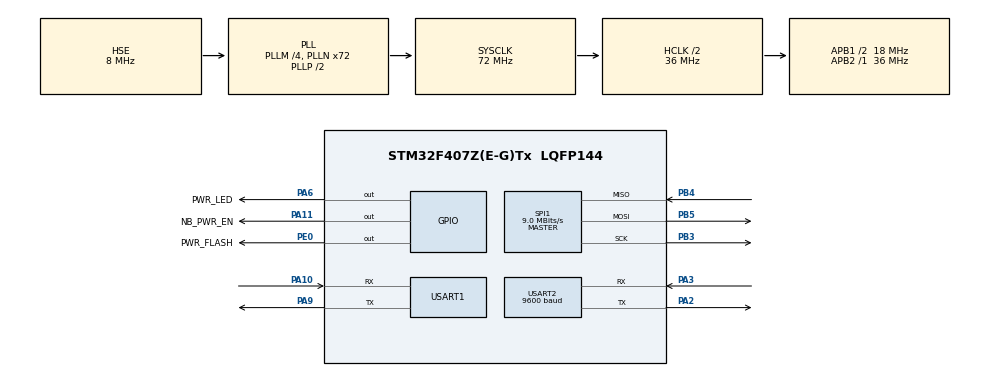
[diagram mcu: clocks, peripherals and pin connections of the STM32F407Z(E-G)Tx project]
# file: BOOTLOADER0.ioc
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Dma.Request0=USART2_RX
Dma.Request1=USART2_TX
Dma.Request2=USART1_RX
Dma.Request3=USART1_TX
Dma.USART1_RX.2.Direction=DMA_PERIPH_TO_MEMORY
Dma.USART1_RX.2.FIFOMode=DMA_FIFOMODE_DISABLE
Dma.USART1_RX.2.Instance=DMA2_Stream2
Dma.USART1_RX.2.MemDataAlignment=DMA_MDATAALIGN_BYTE
Dma.USART1_RX.2.MemInc=DMA_MINC_ENABLE
Dma.USART1_RX.2.Mode=DMA_NORMAL
Dma.USART1_RX.2.PeriphDataAlignment=DMA_PDATAALIGN_BYTE
Dma.USART1_RX.2.PeriphInc=DMA_PINC_DISABLE
Dma.USART1_RX.2.Priority=DMA_PRIORITY_LOW
Dma.USART1_TX.3.Direction=DMA_MEMORY_TO_PERIPH
Dma.USART1_TX.3.FIFOMode=DMA_FIFOMODE_DISABLE
Dma.USART1_TX.3.Instance=DMA2_Stream7
Dma.USART1_TX.3.MemDataAlignment=DMA_MDATAALIGN_BYTE
Dma.USART1_TX.3.MemInc=DMA_MINC_ENABLE
Dma.USART1_TX.3.Mode=DMA_NORMAL
Dma.USART1_TX.3.PeriphDataAlignment=DMA_PDATAALIGN_BYTE
Dma.USART1_TX.3.PeriphInc=DMA_PINC_DISABLE
Dma.USART1_TX.3.Priority=DMA_PRIORITY_LOW
Dma.USART2_RX.0.Direction=DMA_PERIPH_TO_MEMORY
Dma.USART2_RX.0.FIFOMode=DMA_FIFOMODE_DISABLE
Dma.USART2_RX.0.Instance=DMA1_Stream5
Dma.USART2_RX.0.MemDataAlignment=DMA_MDATAALIGN_BYTE
Dma.USART2_RX.0.MemInc=DMA_MINC_ENABLE
Dma.USART2_RX.0.Mode=DMA_NORMAL
Dma.USART2_RX.0.PeriphDataAlignment=DMA_PDATAALIGN_BYTE
Dma.USART2_RX.0.PeriphInc=DMA_PINC_DISABLE
Dma.USART2_RX.0.Priority=DMA_PRIORITY_LOW
Dma.USART2_TX.1.Direction=DMA_MEMORY_TO_PERIPH
Dma.USART2_TX.1.FIFOMode=DMA_FIFOMODE_DISABLE
Dma.USART2_TX.1.Instance=DMA1_Stream6
Dma.USART2_TX.1.MemDataAlignment=DMA_MDATAALIGN_BYTE
Dma.USART2_TX.1.MemInc=DMA_MINC_ENABLE
Dma.USART2_TX.1.Mode=DMA_NORMAL
Dma.USART2_TX.1.PeriphDataAlignment=DMA_PDATAALIGN_BYTE
Dma.USART2_TX.1.PeriphInc=DMA_PINC_DISABLE
Dma.USART2_TX.1.Priority=DMA_PRIORITY_LOW
IWDG.Prescaler=IWDG_PRESCALER_32
Mcu.Family=STM32F4
Mcu.Name=STM32F407Z(E-G)Tx
Mcu.Package=LQFP144
NVIC.DMA1_Stream5_IRQn=true\:0\:0\:false\:false\:true\:false\:true\:true
NVIC.DMA1_Stream6_IRQn=true\:0\:0\:false\:false\:true\:false\:true\:true
NVIC.DMA2_Stream2_IRQn=true\:0\:0\:false\:false\:true\:false\:true\:true
NVIC.DMA2_Stream7_IRQn=true\:0\:0\:false\:false\:true\:false\:true\:true
NVIC.PriorityGroup=NVIC_PRIORITYGROUP_4
NVIC.USART1_IRQn=true\:2\:0\:true\:false\:true\:true\:true\:true
NVIC.USART2_IRQn=true\:0\:0\:false\:false\:true\:true\:true\:true
PA0-WKUP.Mode=SYS_WakeUp0
PA0-WKUP.Signal=SYS_WKUP
PA10.Mode=Asynchronous
PA10.Signal=USART1_RX
PA11.GPIO_Label=NB_PWR_EN
PA11.GPIO_PuPd=GPIO_PULLDOWN
PA11.Signal=GPIO_Output
PA13.Mode=Serial_Wire
PA13.Signal=SYS_JTMS-SWDIO
PA14.Mode=Serial_Wire
PA14.Signal=SYS_JTCK-SWCLK
PA2.Mode=Asynchronous
PA2.Signal=USART2_TX
PA3.Mode=Asynchronous
PA3.Signal=USART2_RX
PA6.GPIO_Label=PWR_LED
PA6.GPIO_PuPd=GPIO_PULLUP
PA6.Signal=GPIO_Output
PA9.Mode=Asynchronous
PA9.Signal=USART1_TX
PB3.Mode=Full_Duplex_Master
PB3.Signal=SPI1_SCK
PB4.Mode=Full_Duplex_Master
PB4.Signal=SPI1_MISO
PB5.Mode=Full_Duplex_Master
PB5.Signal=SPI1_MOSI
PC14-OSC32_IN.Mode=LSE-External-Oscillator
PC14-OSC32_IN.Signal=RCC_OSC32_IN
PC15-OSC32_OUT.Mode=LSE-External-Oscillator
PC15-OSC32_OUT.Signal=RCC_OSC32_OUT
PE0.GPIO_Label=PWR_FLASH
PE0.GPIO_PuPd=GPIO_PULLUP
PE0.Signal=GPIO_Output
PH0-OSC_IN.Mode=HSE-External-Oscillator
PH0-OSC_IN.Signal=RCC_OSC_IN
PH1-OSC_OUT.Mode=HSE-External-Oscillator
PH1-OSC_OUT.Signal=RCC_OSC_OUT
ProjectManager.HeapSize=0x200
ProjectManager.StackSize=0x800
ProjectManager.TargetToolchain=MDK-ARM V5.27
RCC.48MHZClocksFreq_Value=36000000
RCC.AHBCLKDivider=RCC_SYSCLK_DIV2
RCC.AHBFreq_Value=36000000
RCC.APB1CLKDivider=RCC_HCLK_DIV2
RCC.APB1Freq_Value=18000000
RCC.APB1TimFreq_Value=36000000
RCC.APB2Freq_Value=36000000
RCC.APB2TimFreq_Value=36000000
RCC.CortexFreq_Value=36000000
RCC.HCLKFreq_Value=36000000
RCC.HSE_VALUE=8000000
RCC.HSI_VALUE=16000000
RCC.PLLM=4
RCC.PLLN=72
RCC.PLLSourceVirtual=RCC_PLLSOURCE_HSE
RCC.RCC_RTC_Clock_Source=RCC_RTCCLKSOURCE_LSE
RCC.RCC_RTC_Clock_SourceVirtual=RCC_RTCCLKSOURCE_LSE
RCC.SYSCLKFreq_VALUE=72000000
RCC.SYSCLKSource=RCC_SYSCLKSOURCE_PLLCLK
RCC.VCOOutputFreq_Value=144000000
RTC.WakeUpClock=RTC_WAKEUPCLOCK_CK_SPRE_16BITS
RTC.WakeUpCounter=60
SPI1.BaudRatePrescaler=SPI_BAUDRATEPRESCALER_4
SPI1.CalculateBaudRate=9.0 MBits/s
SPI1.Direction=SPI_DIRECTION_2LINES
SPI1.Mode=SPI_MODE_MASTER
SPI1.VirtualType=VM_MASTER
USART1.VirtualMode=VM_ASYNC
USART2.BaudRate=9600
USART2.VirtualMode=VM_ASYNC
VP_IWDG_VS_IWDG.Mode=IWDG_Activate
VP_RTC_VS_RTC_Activate.Mode=RTC_Enabled
VP_RTC_VS_RTC_Calendar.Mode=RTC_Calendar
VP_RTC_VS_RTC_WakeUp_intern.Mode=WakeUp
board=custom

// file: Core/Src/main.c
/* USER CODE BEGIN Header */
/**
  ******************************************************************************
  * @file           : main.c
  * @brief          : Main program body
  ******************************************************************************
  * @attention
  *
  * Copyright (c) 2023 STMicroelectronics.
  * All rights reserved.
  *
  * This software is licensed under terms that can be found in the LICENSE file
  * in the root directory of this software component.
  * If no LICENSE file comes with this software, it is provided AS-IS.
  *
  ******************************************************************************
  */
/* USER CODE END Header */
#include "main.h"
#include "dma.h"
#include "iwdg.h"
#include "rtc.h"
#include "spi.h"
#include "usart.h"
#include "gpio.h"

/* USER CODE BEGIN Includes */
#include "stdio.h"
#include "delay.h"
#include "w25qxx.h"
#include "spi.h"
#include "sys.h"
/* USER CODE END Includes */

/* USER CODE BEGIN PTD */
#define NVIC_VectTab_RAM             ((uint32_t)0x20000000)
#define NVIC_VectTab_FLASH           ((uint32_t)0x8000000)
#define BOOT_SIZE							0x40000
#define ApplicationAddress	(NVIC_VectTab_FLASH + BOOT_SIZE)

typedef  void (*iapfun)(void);
iapfun jump2app;
/* USER CODE END PTD */

/* USER CODE BEGIN PM */

void iap_interface_load_app(uint32_t appxaddr)
{
	jump2app=(iapfun)*(uint32_t*)(appxaddr+4);		//拷贝APP程序的复位中断函数地址
	MSR_MSP(*(uint32_t*)appxaddr);					//初始化APP堆栈指针,对APP程序的堆栈进行重构,就是说重新分配RAM
	jump2app();									//执行APP的复位中断函数,最终便会跳转到APP的main函数
}
/* USER CODE END PM */

void SystemClock_Config(void);

int main(void)
{

  /* MCU Configuration--------------------------------------------------------*/

  /* Reset of all peripherals, Initializes the Flash interface and the Systick. */
  HAL_Init();

  /* USER CODE BEGIN Init */
  SystemClock_Config();
  MX_SPI1_Init();
  W25QXX_Init();//W25Q128初始化
  MX_USART1_UART_Init();
  MX_USART2_UART_Init();
  MX_DMA_Init();

  /* USER CODE END Init */

  /* Configure the system clock */

  /* USER CODE BEGIN SysInit */
	 int iwdg_flag=1;
	 W25QXX_Read((uint8_t*)&iwdg_flag, IWDG_ADDR, sizeof(int));
	 if(iwdg_flag!=0)
	  {
	  printf("bootloader开启看门狗\r\n");
	  MX_IWDG_Init();
	  }
	  else
	   printf("bootloader关闭看门狗\r\n");
  /* USER CODE END SysInit */

  /* Initialize all configured peripherals */
  MX_GPIO_Init();
  MX_RTC_Init();
  /* USER CODE BEGIN 2 */
  __HAL_UART_ENABLE_IT(&huart1, UART_IT_IDLE); //使能IDLE中断
  HAL_UART_Receive_DMA(&huart1,rx1_buffer,BUFFER_SIZE);  //开启DMA接收
  __HAL_UART_ENABLE_IT(&huart2, UART_IT_IDLE); //使能IDLE中断
  HAL_UART_Receive_DMA(&huart2,rx2_buffer,BUFFER_SIZE);  //开启DMA接收

	//关所有中断
    iap_interface_close_all_interrupt();

    printf("bootloader跳转APP\r\n");
	iap_interface_load_app(0x8040000);
  /* USER CODE END 2 */

  /* Infinite loop */
  while (1)
  {

  }
}

void SystemClock_Config(void)
{
  RCC_OscInitTypeDef RCC_OscInitStruct = {0};
  RCC_ClkInitTypeDef RCC_ClkInitStruct = {0};

  /** Configure the main internal regulator output voltage
  */
  __HAL_RCC_PWR_CLK_ENABLE();
  __HAL_PWR_VOLTAGESCALING_CONFIG(PWR_REGULATOR_VOLTAGE_SCALE1);

  /** Initializes the RCC Oscillators according to the specified parameters
  * in the RCC_OscInitTypeDef structure.
  */
  RCC_OscInitStruct.OscillatorType = RCC_OSCILLATORTYPE_LSI|RCC_OSCILLATORTYPE_HSE
                              |RCC_OSCILLATORTYPE_LSE;
  RCC_OscInitStruct.HSEState = RCC_HSE_ON;
  RCC_OscInitStruct.LSEState = RCC_LSE_ON;
  RCC_OscInitStruct.LSIState = RCC_LSI_ON;
  RCC_OscInitStruct.PLL.PLLState = RCC_PLL_ON;
  RCC_OscInitStruct.PLL.PLLSource = RCC_PLLSOURCE_HSE;
  RCC_OscInitStruct.PLL.PLLM = 4;
  RCC_OscInitStruct.PLL.PLLN = 72;
  RCC_OscInitStruct.PLL.PLLP = RCC_PLLP_DIV2;
  RCC_OscInitStruct.PLL.PLLQ = 4;
  if (HAL_RCC_OscConfig(&RCC_OscInitStruct) != HAL_OK)
  {
    Error_Handler();
  }

  /** Initializes the CPU, AHB and APB buses clocks
  */
  RCC_ClkInitStruct.ClockType = RCC_CLOCKTYPE_HCLK|RCC_CLOCKTYPE_SYSCLK
                              |RCC_CLOCKTYPE_PCLK1|RCC_CLOCKTYPE_PCLK2;
  RCC_ClkInitStruct.SYSCLKSource = RCC_SYSCLKSOURCE_PLLCLK;
  RCC_ClkInitStruct.AHBCLKDivider = RCC_SYSCLK_DIV2;
  RCC_ClkInitStruct.APB1CLKDivider = RCC_HCLK_DIV2;
  RCC_ClkInitStruct.APB2CLKDivider = RCC_HCLK_DIV1;

  if (HAL_RCC_ClockConfig(&RCC_ClkInitStruct, FLASH_LATENCY_1) != HAL_OK)
  {
    Error_Handler();
  }
}

void Error_Handler(void)
{
  __disable_irq();
  while (1)
  {
  }
}
